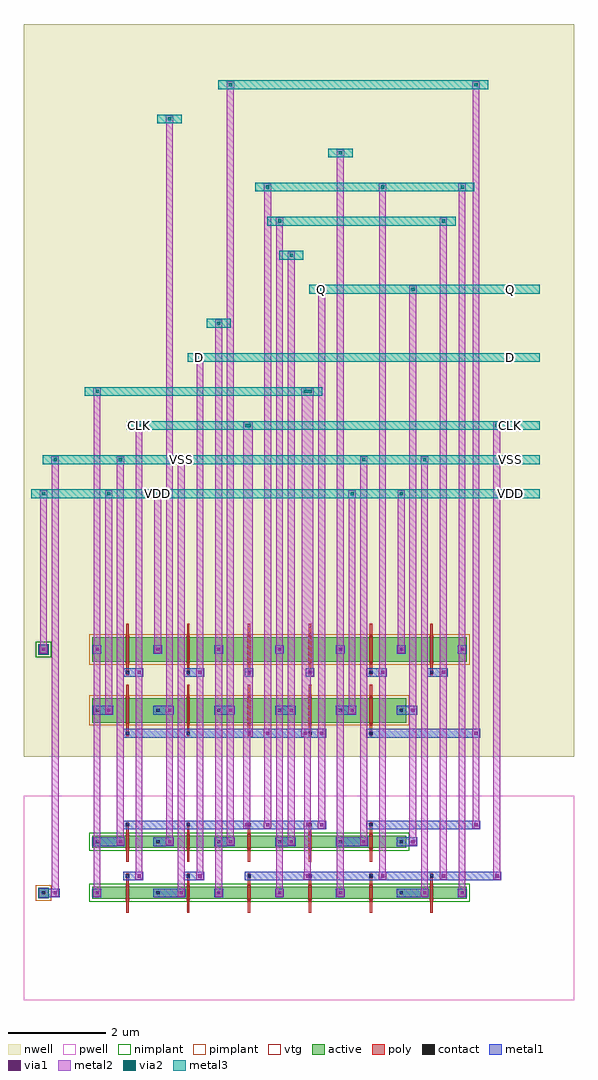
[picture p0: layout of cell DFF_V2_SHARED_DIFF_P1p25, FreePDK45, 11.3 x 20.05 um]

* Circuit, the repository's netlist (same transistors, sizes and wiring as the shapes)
* cell DFF_V2_SHARED_DIFF_P1p25
* pin D
* pin CLK,Q
* pin VDD
* pin VSS
.SUBCKT DFF_V2_SHARED_DIFF_P1p25 2 4 8 9
* net 2 D
* net 4 CLK,Q
* net 8 VDD
* net 9 VSS
* device instance $1 r0 *1 1.825,7 PMOS_VTG
M$1 8 4 4 8 PMOS_VTG L=0.05U W=1U AS=0.65P AD=0.65P PS=4.1U PD=4.1U
* device instance $2 r0 *1 3.075,7 PMOS_VTG
M$2 3 2 8 8 PMOS_VTG L=0.05U W=0.5U AS=0.3P AD=0.3P PS=1.7U PD=1.7U
* device instance $3 r0 *1 4.325,7 PMOS_VTG
M$3 4 4 3 8 PMOS_VTG L=0.05U W=0.5U AS=0.3P AD=0.3P PS=1.7U PD=1.7U
* device instance $4 r0 *1 5.575,7 PMOS_VTG
M$4 1 4 4 8 PMOS_VTG L=0.05U W=0.5U AS=0.3P AD=0.3P PS=1.7U PD=1.7U
* device instance $5 r0 *1 6.825,7 PMOS_VTG
M$5 8 4 1 8 PMOS_VTG L=0.05U W=0.5U AS=0.3P AD=0.3P PS=1.7U PD=1.7U
* device instance $7 r0 *1 1.825,5.75 PMOS_VTG
M$7 5 4 8 8 PMOS_VTG L=0.05U W=0.5U AS=0.35P AD=0.3P PS=2.4U PD=1.7U
* device instance $8 r0 *1 3.075,5.75 PMOS_VTG
M$8 6 4 5 8 PMOS_VTG L=0.05U W=0.5U AS=0.3P AD=0.3P PS=1.7U PD=1.7U
* device instance $9 r0 *1 4.325,5.75 PMOS_VTG
M$9 7 4 6 8 PMOS_VTG L=0.05U W=0.5U AS=0.3P AD=0.3P PS=1.7U PD=1.7U
* device instance $10 r0 *1 5.575,5.75 PMOS_VTG
M$10 8 4 7 8 PMOS_VTG L=0.05U W=0.5U AS=0.3P AD=0.3P PS=1.7U PD=1.7U
* device instance $11 r0 *1 6.825,5.75 PMOS_VTG
M$11 4 6 8 8 PMOS_VTG L=0.05U W=0.5U AS=0.3P AD=0.35P PS=1.7U PD=2.4U
* device instance $12 r0 *1 1.825,3.05 NMOS_VTG
M$12 5 4 9 9 NMOS_VTG L=0.05U W=0.25U AS=0.175P AD=0.15P PS=1.9U PD=1.45U
* device instance $13 r0 *1 3.075,3.05 NMOS_VTG
M$13 6 4 5 9 NMOS_VTG L=0.05U W=0.25U AS=0.15P AD=0.15P PS=1.45U PD=1.45U
* device instance $14 r0 *1 4.325,3.05 NMOS_VTG
M$14 7 4 6 9 NMOS_VTG L=0.05U W=0.25U AS=0.15P AD=0.15P PS=1.45U PD=1.45U
* device instance $15 r0 *1 5.575,3.05 NMOS_VTG
M$15 9 4 7 9 NMOS_VTG L=0.05U W=0.25U AS=0.15P AD=0.15P PS=1.45U PD=1.45U
* device instance $16 r0 *1 6.825,3.05 NMOS_VTG
M$16 4 6 9 9 NMOS_VTG L=0.05U W=0.25U AS=0.15P AD=0.175P PS=1.45U PD=1.9U
* device instance $17 r0 *1 1.825,2 NMOS_VTG
M$17 9 4 4 9 NMOS_VTG L=0.05U W=0.5U AS=0.325P AD=0.325P PS=3.35U PD=3.35U
* device instance $18 r0 *1 3.075,2 NMOS_VTG
M$18 3 2 9 9 NMOS_VTG L=0.05U W=0.25U AS=0.15P AD=0.15P PS=1.45U PD=1.45U
* device instance $19 r0 *1 4.325,2 NMOS_VTG
M$19 4 4 3 9 NMOS_VTG L=0.05U W=0.25U AS=0.15P AD=0.15P PS=1.45U PD=1.45U
* device instance $20 r0 *1 5.575,2 NMOS_VTG
M$20 1 4 4 9 NMOS_VTG L=0.05U W=0.25U AS=0.15P AD=0.15P PS=1.45U PD=1.45U
* device instance $21 r0 *1 6.825,2 NMOS_VTG
M$21 9 4 1 9 NMOS_VTG L=0.05U W=0.25U AS=0.15P AD=0.15P PS=1.45U PD=1.45U
.ENDS DFF_V2_SHARED_DIFF_P1p25

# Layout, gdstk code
import gdstk
lib = gdstk.Library(unit=1e-6, precision=5e-10)
def R(c, l, rs):  # rectangles x0, y0, x1, y1
    for r in rs: c.add(gdstk.rectangle(r[:2], r[2:], *l))
def A(c, l, x, y, w, h, nx, ny, dx, dy):  # array of equal rectangles
    R(c, l, [(x+i*dx, y+j*dy, x+i*dx+w, y+j*dy+h) for i in range(nx) for j in range(ny)])
active = (1, 0)
pwell = (2, 0)
nwell = (3, 0)
nimplant = (4, 0)
pimplant = (5, 0)
vtg = (6, 0)
poly = (9, 0)
contact = (10, 0)
metal1 = (11, 0)
via1 = (12, 0)
metal2 = (13, 0)
via2 = (14, 0)
metal3 = (15, 0)

dff_v2_shared_diff_p1p25 = lib.new_cell('DFF_V2_SHARED_DIFF_P1p25')
R(dff_v2_shared_diff_p1p25, active, [(1.1,1.875,8.8,2.125), (-0.01,1.89,0.21,2.11), (1.1,2.925,7.55,3.175), (1.1,5.5,7.55,6), (1.1,6.75,8.8,7.25), (-0.01,6.89,0.21,7.11)])
R(dff_v2_shared_diff_p1p25, pwell, [(-0.3,-0.2,11,4)])
R(dff_v2_shared_diff_p1p25, nwell, [(-0.3,4.8,11,19.85)])
R(dff_v2_shared_diff_p1p25, nimplant, [(1.04,1.815,8.86,2.185), (1.04,2.865,7.61,3.235), (-0.06,6.84,0.26,7.16)])
R(dff_v2_shared_diff_p1p25, pimplant, [(-0.06,1.84,0.26,2.16), (1.04,5.44,7.61,6.06), (1.04,6.69,8.86,7.31)])
A(dff_v2_shared_diff_p1p25, vtg, 1.79, 1.845, 0.07, 0.31, 6, 1, 1.25, 0)
A(dff_v2_shared_diff_p1p25, vtg, 1.79, 2.895, 0.07, 0.31, 5, 1, 1.25, 0)
A(dff_v2_shared_diff_p1p25, vtg, 1.79, 5.47, 0.07, 0.56, 5, 1, 1.25, 0)
A(dff_v2_shared_diff_p1p25, vtg, 1.79, 6.72, 0.07, 0.56, 6, 1, 1.25, 0)
A(dff_v2_shared_diff_p1p25, poly, 1.8, 1.595, 0.05, 0.81, 6, 1, 1.25, 0)
A(dff_v2_shared_diff_p1p25, poly, 1.8, 2.645, 0.05, 0.81, 5, 1, 1.25, 0)
A(dff_v2_shared_diff_p1p25, poly, 1.8, 5.22, 0.05, 1.06, 5, 1, 1.25, 0)
A(dff_v2_shared_diff_p1p25, poly, 1.8, 6.47, 0.05, 1.06, 6, 1, 1.25, 0)
A(dff_v2_shared_diff_p1p25, contact, 1.17, 1.97, 0.065, 0.065, 7, 2, 1.25, 5)
A(dff_v2_shared_diff_p1p25, contact, 1.795, 2.315, 0.065, 0.065, 6, 2, 1.25, 4.185)
A(dff_v2_shared_diff_p1p25, contact, 1.17, 3.02, 0.065, 0.065, 6, 2, 1.25, 2.7)
A(dff_v2_shared_diff_p1p25, contact, 1.795, 3.365, 0.065, 0.065, 5, 2, 1.25, 1.885)
R(dff_v2_shared_diff_p1p25, contact, [(0.07,1.97,0.135,2.035), (0.07,6.97,0.135,7.035)])
A(dff_v2_shared_diff_p1p25, metal1, 2.45, 2.96, 0.24, 0.18, 3, 1, 1.25, 0)
A(dff_v2_shared_diff_p1p25, metal1, 1.735, 5.19, 0.18, 0.18, 3, 1, 1.25, 0)
A(dff_v2_shared_diff_p1p25, metal1, 1.2, 5.66, 0.24, 0.18, 6, 1, 1.25, 0)
R(dff_v2_shared_diff_p1p25, metal1, [(0,1.9,0.2,2.1), (0.1,1.91,0.34,2.09), (0.25,1.91,0.43,2.09), (1.11,1.91,1.29,2.09), (1.11,1.91,1.29,2.09), (2.36,1.91,2.54,2.09), (2.45,1.91,2.93,2.09), (2.84,1.91,3.02,2.09), (3.61,1.91,3.79,2.09), (3.61,1.91,3.79,2.09), (4.86,1.91,5.04,2.09), (4.86,1.91,5.04,2.09), (6.11,1.91,6.29,2.09), (6.11,1.91,6.29,2.09), (7.36,1.91,7.54,2.09), (7.45,1.91,7.93,2.09), (7.84,1.91,8.02,2.09), (8.61,1.91,8.79,2.09), (8.61,1.91,8.79,2.09), (1.735,2.255,1.915,2.435), (1.825,2.255,2.065,2.435), (1.975,2.255,2.155,2.435), (2.985,2.255,3.165,2.435), (3.075,2.255,3.315,2.435), (3.225,2.255,3.405,2.435), (4.235,2.255,4.415,2.435), (4.325,2.255,5.525,2.435), (5.435,2.255,5.615,2.435), (5.485,2.255,5.665,2.435), (5.575,2.255,9.415,2.435), (6.735,2.255,6.915,2.435), (6.825,2.255,7.065,2.435), (6.975,2.255,7.155,2.435), (7.985,2.255,8.165,2.435), (8.075,2.255,8.315,2.435), (8.225,2.255,8.405,2.435), (9.325,2.255,9.505,2.435), (1.11,2.96,1.29,3.14), (1.2,2.96,1.68,3.14), (1.59,2.96,1.77,3.14), (2.36,2.96,2.54,3.14), (2.6,2.96,2.78,3.14), (3.61,2.96,3.79,3.14), (3.85,2.96,4.03,3.14), (4.86,2.96,5.04,3.14), (5.1,2.96,5.28,3.14), (6.11,2.96,6.29,3.14), (6.2,2.96,6.68,3.14), (6.59,2.96,6.77,3.14), (7.36,2.96,7.54,3.14), (7.45,2.96,7.69,3.14), (7.6,2.96,7.78,3.14), (1.735,3.305,1.915,3.485), (1.825,3.305,4.705,3.485), (2.985,3.305,3.165,3.485), (3.075,3.305,4.275,3.485), (4.185,3.305,4.365,3.485), (4.235,3.305,4.415,3.485), (4.325,3.305,5.525,3.485), (4.615,3.305,4.795,3.485), (5.435,3.305,5.615,3.485), (5.485,3.305,5.665,3.485), (5.575,3.305,5.815,3.485), (5.725,3.305,5.905,3.485), (6.735,3.305,6.915,3.485), (6.825,3.305,8.985,3.485), (8.895,3.305,9.075,3.485), (1.825,5.19,4.705,5.37), (3.075,5.19,5.475,5.37), (4.235,5.19,4.415,5.37), (4.615,5.19,4.795,5.37), (5.385,5.19,5.565,5.37), (5.485,5.19,5.665,5.37), (5.575,5.19,5.815,5.37), (5.725,5.19,5.905,5.37), (6.735,5.19,6.915,5.37), (6.825,5.19,8.985,5.37), (8.895,5.19,9.075,5.37), (1.11,5.66,1.29,5.84), (1.35,5.66,1.53,5.84), (2.36,5.66,2.54,5.84), (2.6,5.66,2.78,5.84), (3.61,5.66,3.79,5.84), (3.85,5.66,4.03,5.84), (4.86,5.66,5.04,5.84), (5.1,5.66,5.28,5.84), (6.11,5.66,6.29,5.84), (6.35,5.66,6.53,5.84), (7.36,5.66,7.54,5.84), (7.6,5.66,7.78,5.84), (1.735,6.44,1.915,6.62), (1.825,6.44,2.065,6.62), (1.975,6.44,2.155,6.62), (2.985,6.44,3.165,6.62), (3.075,6.44,3.315,6.62), (3.225,6.44,3.405,6.62), (4.235,6.44,4.415,6.62), (4.235,6.44,4.415,6.62), (5.485,6.44,5.665,6.62), (5.485,6.44,5.665,6.62), (6.735,6.44,6.915,6.62), (6.825,6.44,7.065,6.62), (6.975,6.44,7.155,6.62), (7.985,6.44,8.165,6.62), (8.075,6.44,8.315,6.62), (8.225,6.44,8.405,6.62), (0,6.9,0.2,7.1), (0.01,6.91,0.19,7.09), (1.11,6.91,1.29,7.09), (1.11,6.91,1.29,7.09), (2.36,6.91,2.54,7.09), (2.36,6.91,2.54,7.09), (3.61,6.91,3.79,7.09), (3.61,6.91,3.79,7.09), (4.86,6.91,5.04,7.09), (4.86,6.91,5.04,7.09), (6.11,6.91,6.29,7.09), (6.11,6.91,6.29,7.09), (7.36,6.91,7.54,7.09), (7.36,6.91,7.54,7.09), (8.61,6.91,8.79,7.09), (8.61,6.91,8.79,7.09)])
A(dff_v2_shared_diff_p1p25, via1, 3.67, 1.97, 0.065, 0.065, 3, 1, 1.25, 0)
A(dff_v2_shared_diff_p1p25, via1, 2.66, 3.02, 0.065, 0.065, 3, 1, 1.25, 0)
A(dff_v2_shared_diff_p1p25, via1, 1.41, 5.72, 0.065, 0.065, 6, 1, 1.25, 0)
A(dff_v2_shared_diff_p1p25, via1, 1.17, 6.97, 0.065, 0.065, 7, 1, 1.25, 0)
R(dff_v2_shared_diff_p1p25, via1, [(0.31,1.97,0.375,2.035), (1.17,1.97,1.235,2.035), (2.9,1.97,2.965,2.035), (7.9,1.97,7.965,2.035), (8.67,1.97,8.735,2.035), (2.035,2.315,2.1,2.38), (3.285,2.315,3.35,2.38), (5.495,2.315,5.56,2.38), (7.035,2.315,7.1,2.38), (8.285,2.315,8.35,2.38), (9.385,2.315,9.45,2.38), (1.65,3.02,1.715,3.085), (6.65,3.02,6.715,3.085), (7.66,3.02,7.725,3.085), (4.245,3.365,4.31,3.43), (4.675,3.365,4.74,3.43), (5.495,3.365,5.56,3.43), (5.785,3.365,5.85,3.43), (8.955,3.365,9.02,3.43), (4.295,5.25,4.36,5.315), (4.675,5.25,4.74,5.315), (5.445,5.25,5.51,5.315), (5.785,5.25,5.85,5.315), (8.955,5.25,9.02,5.315), (2.035,6.5,2.1,6.565), (3.285,6.5,3.35,6.565), (4.295,6.5,4.36,6.565), (5.545,6.5,5.61,6.565), (7.035,6.5,7.1,6.565), (8.285,6.5,8.35,6.565), (0.07,6.97,0.135,7.035)])
A(dff_v2_shared_diff_p1p25, metal2, 3.625, 1.925, 0.15, 0.15, 3, 1, 1.25, 0)
A(dff_v2_shared_diff_p1p25, metal2, 2.615, 2.975, 0.15, 0.15, 3, 1, 1.25, 0)
A(dff_v2_shared_diff_p1p25, metal2, 1.365, 5.675, 0.15, 0.15, 6, 1, 1.25, 0)
A(dff_v2_shared_diff_p1p25, metal2, 1.125, 6.925, 0.15, 0.15, 7, 1, 1.25, 0)
R(dff_v2_shared_diff_p1p25, metal2, [(0.265,1.925,0.415,2.075), (1.125,1.925,1.275,2.075), (2.855,1.925,3.005,2.075), (7.855,1.925,8.005,2.075), (8.625,1.925,8.775,2.075), (0.27,2,0.41,10.9), (1.13,2,1.27,12.3), (2.86,2,3,10.9), (3.63,2,3.77,13.7), (4.88,2,5.02,15.8), (6.13,2,6.27,17.2), (7.86,2,8,10.9), (8.63,2,8.77,16.5), (1.99,2.27,2.14,2.42), (3.24,2.27,3.39,2.42), (5.45,2.27,5.6,2.42), (6.99,2.27,7.14,2.42), (8.24,2.27,8.39,2.42), (9.34,2.27,9.49,2.42), (1.995,2.345,2.135,11.6), (3.245,2.345,3.385,13), (5.455,2.345,5.595,12.3), (6.995,2.345,7.135,16.5), (8.245,2.345,8.385,15.8), (9.345,2.345,9.485,11.6), (1.605,2.975,1.755,3.125), (6.605,2.975,6.755,3.125), (7.615,2.975,7.765,3.125), (1.61,3.05,1.75,10.9), (2.62,3.05,2.76,17.9), (3.87,3.05,4.01,18.6), (5.12,3.05,5.26,15.1), (6.61,3.05,6.75,10.9), (7.62,3.05,7.76,14.4), (4.2,3.32,4.35,3.47), (4.63,3.32,4.78,3.47), (5.45,3.32,5.6,3.47), (5.74,3.32,5.89,3.47), (8.91,3.32,9.06,3.47), (4.205,3.395,4.345,11.6), (4.635,3.395,4.775,16.5), (5.455,3.395,5.595,12.3), (5.745,3.395,5.885,14.4), (8.915,3.395,9.055,18.6), (4.25,5.205,4.4,5.355), (4.63,5.205,4.78,5.355), (5.4,5.205,5.55,5.355), (5.74,5.205,5.89,5.355), (8.91,5.205,9.06,5.355), (4.255,5.28,4.395,11.6), (4.635,5.28,4.775,16.5), (5.405,5.28,5.545,12.3), (5.745,5.28,5.885,14.4), (8.915,5.28,9.055,18.6), (1.37,5.75,1.51,10.2), (2.62,5.75,2.76,17.9), (3.87,5.75,4.01,18.6), (5.12,5.75,5.26,15.1), (6.37,5.75,6.51,10.2), (7.62,5.75,7.76,14.4), (1.99,6.455,2.14,6.605), (3.24,6.455,3.39,6.605), (4.25,6.455,4.4,6.605), (5.5,6.455,5.65,6.605), (6.99,6.455,7.14,6.605), (8.24,6.455,8.39,6.605), (1.995,6.53,2.135,11.6), (3.245,6.53,3.385,13), (4.255,6.53,4.395,11.6), (5.505,6.53,5.645,12.3), (6.995,6.53,7.135,16.5), (8.245,6.53,8.385,15.8), (0.025,6.925,0.175,7.075), (0.03,7,0.17,10.2), (1.13,7,1.27,12.3), (2.38,7,2.52,10.2), (3.63,7,3.77,13.7), (4.88,7,5.02,15.8), (6.13,7,6.27,17.2), (7.38,7,7.52,10.2), (8.63,7,8.77,16.5), (0.025,10.125,0.175,10.275), (1.365,10.125,1.515,10.275), (2.375,10.125,2.525,10.275), (6.365,10.125,6.515,10.275), (7.375,10.125,7.525,10.275), (0.265,10.825,0.415,10.975), (1.605,10.825,1.755,10.975), (2.855,10.825,3.005,10.975), (6.605,10.825,6.755,10.975), (7.855,10.825,8.005,10.975), (1.99,11.525,2.14,11.675), (1.99,11.525,2.14,11.675), (4.2,11.525,4.35,11.675), (4.25,11.525,4.4,11.675), (4.25,11.525,4.4,11.675), (9.34,11.525,9.49,11.675), (1.125,12.225,1.275,12.375), (1.125,12.225,1.275,12.375), (5.4,12.225,5.55,12.375), (5.45,12.225,5.6,12.375), (5.45,12.225,5.6,12.375), (5.5,12.225,5.65,12.375), (3.24,12.925,3.39,13.075), (3.24,12.925,3.39,13.075), (3.625,13.625,3.775,13.775), (3.625,13.625,3.775,13.775), (5.74,14.325,5.89,14.475), (5.74,14.325,5.89,14.475), (7.615,14.325,7.765,14.475), (7.615,14.325,7.765,14.475), (5.115,15.025,5.265,15.175), (5.115,15.025,5.265,15.175), (4.875,15.725,5.025,15.875), (4.875,15.725,5.025,15.875), (8.24,15.725,8.39,15.875), (8.24,15.725,8.39,15.875), (4.63,16.425,4.78,16.575), (4.63,16.425,4.78,16.575), (6.99,16.425,7.14,16.575), (6.99,16.425,7.14,16.575), (8.625,16.425,8.775,16.575), (8.625,16.425,8.775,16.575), (6.125,17.125,6.275,17.275), (6.125,17.125,6.275,17.275), (2.615,17.825,2.765,17.975), (2.615,17.825,2.765,17.975), (3.865,18.525,4.015,18.675), (3.865,18.525,4.015,18.675), (8.91,18.525,9.06,18.675), (8.91,18.525,9.06,18.675)])
R(dff_v2_shared_diff_p1p25, via2, [(0.07,10.17,0.135,10.235), (1.41,10.17,1.475,10.235), (2.42,10.17,2.485,10.235), (6.41,10.17,6.475,10.235), (7.42,10.17,7.485,10.235), (0.31,10.87,0.375,10.935), (1.65,10.87,1.715,10.935), (2.9,10.87,2.965,10.935), (6.65,10.87,6.715,10.935), (7.9,10.87,7.965,10.935), (2.035,11.57,2.1,11.635), (2.035,11.57,2.1,11.635), (4.245,11.57,4.31,11.635), (4.295,11.57,4.36,11.635), (4.295,11.57,4.36,11.635), (9.385,11.57,9.45,11.635), (1.17,12.27,1.235,12.335), (1.17,12.27,1.235,12.335), (5.445,12.27,5.51,12.335), (5.495,12.27,5.56,12.335), (5.495,12.27,5.56,12.335), (5.545,12.27,5.61,12.335), (3.285,12.97,3.35,13.035), (3.285,12.97,3.35,13.035), (3.67,13.67,3.735,13.735), (3.67,13.67,3.735,13.735), (5.785,14.37,5.85,14.435), (5.785,14.37,5.85,14.435), (7.66,14.37,7.725,14.435), (7.66,14.37,7.725,14.435), (5.16,15.07,5.225,15.135), (5.16,15.07,5.225,15.135), (4.92,15.77,4.985,15.835), (4.92,15.77,4.985,15.835), (8.285,15.77,8.35,15.835), (8.285,15.77,8.35,15.835), (4.675,16.47,4.74,16.535), (4.675,16.47,4.74,16.535), (7.035,16.47,7.1,16.535), (7.035,16.47,7.1,16.535), (8.67,16.47,8.735,16.535), (8.67,16.47,8.735,16.535), (6.17,17.17,6.235,17.235), (6.17,17.17,6.235,17.235), (2.66,17.87,2.725,17.935), (2.66,17.87,2.725,17.935), (3.91,18.57,3.975,18.635), (3.91,18.57,3.975,18.635), (8.955,18.57,9.02,18.635), (8.955,18.57,9.02,18.635)])
R(dff_v2_shared_diff_p1p25, metal3, [(-0.15,10.11,7.7,10.29), (7.7,10.11,10.3,10.29), (0.025,10.125,0.175,10.275), (1.365,10.125,1.515,10.275), (2.375,10.125,2.525,10.275), (6.365,10.125,6.515,10.275), (7.375,10.125,7.525,10.275), (0.09,10.81,8.18,10.99), (8.18,10.81,10.3,10.99), (0.265,10.825,0.415,10.975), (1.605,10.825,1.755,10.975), (2.855,10.825,3.005,10.975), (6.605,10.825,6.755,10.975), (7.855,10.825,8.005,10.975), (1.815,11.51,9.665,11.69), (9.665,11.51,10.3,11.69), (1.99,11.525,2.14,11.675), (1.99,11.525,2.14,11.675), (4.2,11.525,4.35,11.675), (4.25,11.525,4.4,11.675), (4.25,11.525,4.4,11.675), (9.34,11.525,9.49,11.675), (0.95,12.21,5.825,12.39), (1.125,12.225,1.275,12.375), (1.125,12.225,1.275,12.375), (5.4,12.225,5.55,12.375), (5.45,12.225,5.6,12.375), (5.45,12.225,5.6,12.375), (5.5,12.225,5.65,12.375), (3.065,12.91,3.565,13.09), (3.565,12.91,10.3,13.09), (3.24,12.925,3.39,13.075), (3.24,12.925,3.39,13.075), (3.45,13.61,3.95,13.79), (3.625,13.625,3.775,13.775), (3.625,13.625,3.775,13.775), (5.565,14.31,7.94,14.49), (7.94,14.31,10.3,14.49), (5.74,14.325,5.89,14.475), (5.74,14.325,5.89,14.475), (7.615,14.325,7.765,14.475), (7.615,14.325,7.765,14.475), (4.94,15.01,5.44,15.19), (5.115,15.025,5.265,15.175), (5.115,15.025,5.265,15.175), (4.7,15.71,8.565,15.89), (4.875,15.725,5.025,15.875), (4.875,15.725,5.025,15.875), (8.24,15.725,8.39,15.875), (8.24,15.725,8.39,15.875), (4.455,16.41,8.95,16.59), (4.63,16.425,4.78,16.575), (4.63,16.425,4.78,16.575), (6.99,16.425,7.14,16.575), (6.99,16.425,7.14,16.575), (8.625,16.425,8.775,16.575), (8.625,16.425,8.775,16.575), (5.95,17.11,6.45,17.29), (6.125,17.125,6.275,17.275), (6.125,17.125,6.275,17.275), (2.44,17.81,2.94,17.99), (2.615,17.825,2.765,17.975), (2.615,17.825,2.765,17.975), (3.69,18.51,9.235,18.69), (3.865,18.525,4.015,18.675), (3.865,18.525,4.015,18.675), (8.91,18.525,9.06,18.675), (8.91,18.525,9.06,18.675)])
dff_v2_shared_diff_p1p25.add(gdstk.Label('VDD', (9.7,10.2), layer=15, texttype=0))
dff_v2_shared_diff_p1p25.add(gdstk.Label('VDD', (9.7,10.2), layer=15, texttype=1))
dff_v2_shared_diff_p1p25.add(gdstk.Label('VDD', (9.7,10.2), layer=15, texttype=2))
dff_v2_shared_diff_p1p25.add(gdstk.Label('VDD', (2.45,10.2), layer=13, texttype=0))
dff_v2_shared_diff_p1p25.add(gdstk.Label('VDD', (2.45,10.2), layer=13, texttype=1))
dff_v2_shared_diff_p1p25.add(gdstk.Label('VDD', (2.45,10.2), layer=13, texttype=2))
dff_v2_shared_diff_p1p25.add(gdstk.Label('VSS', (9.7,10.9), layer=15, texttype=0))
dff_v2_shared_diff_p1p25.add(gdstk.Label('VSS', (9.7,10.9), layer=15, texttype=1))
dff_v2_shared_diff_p1p25.add(gdstk.Label('VSS', (9.7,10.9), layer=15, texttype=2))
dff_v2_shared_diff_p1p25.add(gdstk.Label('VSS', (2.93,10.9), layer=13, texttype=0))
dff_v2_shared_diff_p1p25.add(gdstk.Label('VSS', (2.93,10.9), layer=13, texttype=1))
dff_v2_shared_diff_p1p25.add(gdstk.Label('VSS', (2.93,10.9), layer=13, texttype=2))
dff_v2_shared_diff_p1p25.add(gdstk.Label('CLK', (9.7,11.6), layer=15, texttype=0))
dff_v2_shared_diff_p1p25.add(gdstk.Label('CLK', (9.7,11.6), layer=15, texttype=1))
dff_v2_shared_diff_p1p25.add(gdstk.Label('CLK', (9.7,11.6), layer=15, texttype=2))
dff_v2_shared_diff_p1p25.add(gdstk.Label('CLK', (2.065,11.6), layer=13, texttype=0))
dff_v2_shared_diff_p1p25.add(gdstk.Label('CLK', (2.065,11.6), layer=13, texttype=1))
dff_v2_shared_diff_p1p25.add(gdstk.Label('CLK', (2.065,11.6), layer=13, texttype=2))
dff_v2_shared_diff_p1p25.add(gdstk.Label('D', (9.7,13), layer=15, texttype=0))
dff_v2_shared_diff_p1p25.add(gdstk.Label('D', (9.7,13), layer=15, texttype=1))
dff_v2_shared_diff_p1p25.add(gdstk.Label('D', (9.7,13), layer=15, texttype=2))
dff_v2_shared_diff_p1p25.add(gdstk.Label('D', (3.315,13), layer=13, texttype=0))
dff_v2_shared_diff_p1p25.add(gdstk.Label('D', (3.315,13), layer=13, texttype=1))
dff_v2_shared_diff_p1p25.add(gdstk.Label('D', (3.315,13), layer=13, texttype=2))
dff_v2_shared_diff_p1p25.add(gdstk.Label('Q', (9.7,14.4), layer=15, texttype=0))
dff_v2_shared_diff_p1p25.add(gdstk.Label('Q', (9.7,14.4), layer=15, texttype=1))
dff_v2_shared_diff_p1p25.add(gdstk.Label('Q', (9.7,14.4), layer=15, texttype=2))
dff_v2_shared_diff_p1p25.add(gdstk.Label('Q', (5.815,14.4), layer=13, texttype=0))
dff_v2_shared_diff_p1p25.add(gdstk.Label('Q', (5.815,14.4), layer=13, texttype=1))
dff_v2_shared_diff_p1p25.add(gdstk.Label('Q', (5.815,14.4), layer=13, texttype=2))

lib.write_gds('DFF_V2_SHARED_DIFF_P1p25.gds')
